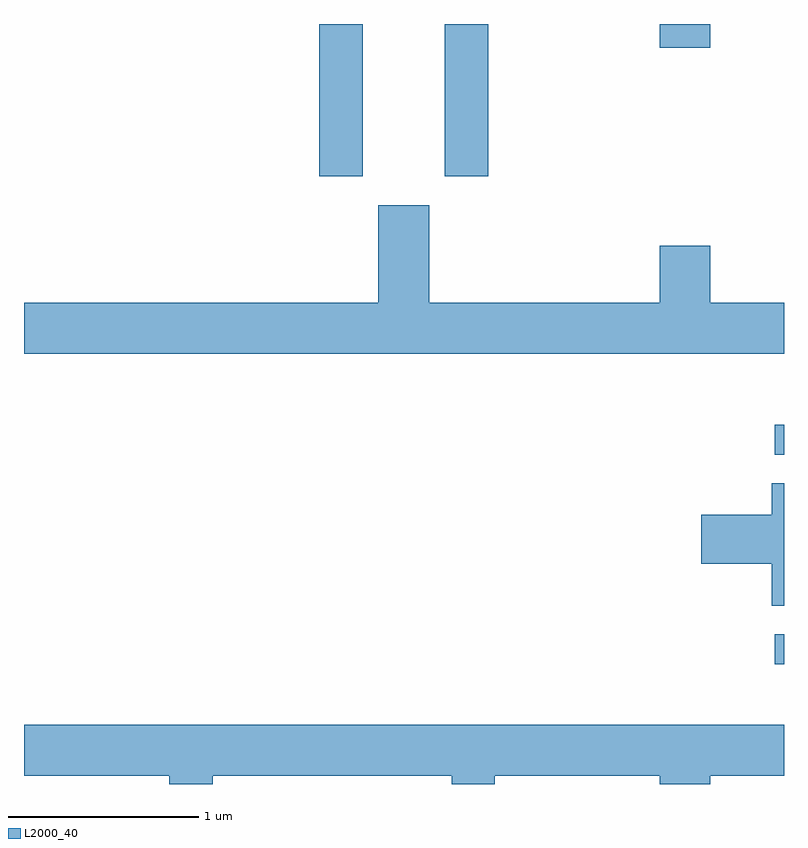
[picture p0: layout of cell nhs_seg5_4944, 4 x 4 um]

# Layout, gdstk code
import gdstk
lib = gdstk.Library(unit=1e-6, precision=1e-09)
def R(c, l, rs):  # rectangles x0, y0, x1, y1
    for r in rs: c.add(gdstk.rectangle(r[:2], r[2:], *l))
def P(c, l, *ps):  # polygons
    for p in ps: c.add(gdstk.Polygon(p, *l))
L2000_40 = (2000, 40)

nhs_seg5_4944 = lib.new_cell('nhs_seg5_4944')
R(nhs_seg5_4944, L2000_40, [(335.563,1470.701,335.611,1470.859), (335.563,1471.806,335.611,1471.964), (333.166,1473.271,333.394,1474.072), (333.826,1473.271,334.054,1474.072), (334.956,1473.946,335.224,1474.072)])
P(nhs_seg5_4944, L2000_40, [(335.611,1472.604),(335.224,1472.604),(335.224,1472.904),(334.956,1472.904),(334.956,1472.604),(333.744,1472.604),(333.744,1473.119),(333.476,1473.119),(333.476,1472.604),(331.611,1472.604),(331.611,1472.336),(335.611,1472.336)],
  [(335.611,1471.654),(335.546,1471.654),(335.546,1471.489),(335.176,1471.489),(335.176,1471.231),(335.546,1471.231),(335.546,1471.011),(335.611,1471.011)],
  [(331.611,1470.116),(332.376,1470.116),(332.376,1470.072),(332.604,1470.072),(332.604,1470.116),(333.861,1470.116),(333.861,1470.072),(334.089,1470.072),(334.089,1470.116),(334.956,1470.116),(334.956,1470.072),(335.224,1470.072),(335.224,1470.116),(335.611,1470.116),(335.611,1470.384),(331.611,1470.384)])

lib.write_gds('nhs_seg5_4944.gds')
